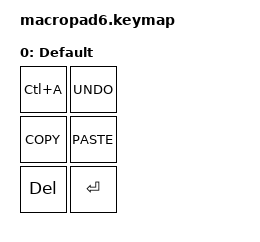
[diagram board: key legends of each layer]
#include <behaviors.dtsi>
#include <dt-bindings/zmk/keys.h>

/ {
    keymap {
        compatible = "zmk,keymap";

        default_layer {
            display-name = "Default";
            bindings = <
&kp LC(A)   &kp K_UNDO
&kp K_COPY  &kp K_PASTE
&kp DELETE  &kp ENTER
            >;
        };
    };
};
